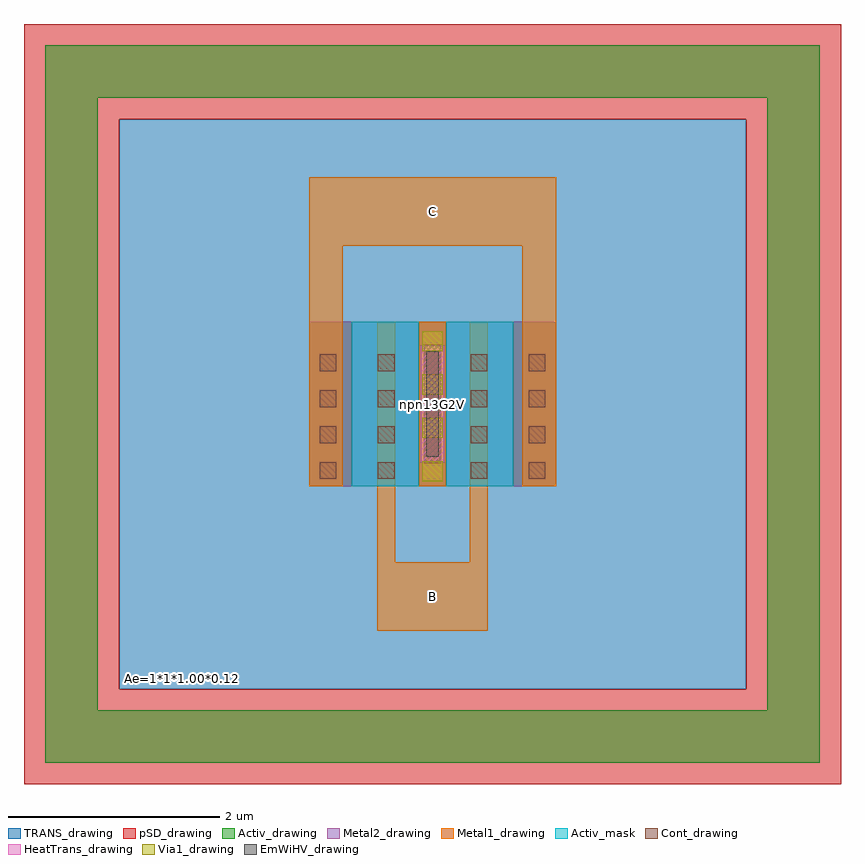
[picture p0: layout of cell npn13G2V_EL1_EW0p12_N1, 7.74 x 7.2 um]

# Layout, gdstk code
import gdstk
lib = gdstk.Library(unit=1e-6, precision=1e-09)
def R(c, l, rs):  # rectangles x0, y0, x1, y1
    for r in rs: c.add(gdstk.rectangle(r[:2], r[2:], *l))
def P(c, l, *ps):  # polygons
    for p in ps: c.add(gdstk.Polygon(p, *l))
Activ_drawing = (1, 0)
Activ_mask = (1, 20)
Cont_drawing = (6, 0)
Metal1_drawing = (8, 0)
Metal2_drawing = (10, 0)
pSD_drawing = (14, 0)
Via1_drawing = (19, 0)
TRANS_drawing = (26, 0)
HeatTrans_drawing = (51, 0)
EmWiHV_drawing = (156, 0)

rectangle_gdsfactorypcom = lib.new_cell('rectangle_gdsfactorypcomponentspshapesprectangle_S0p12__214563ad')
R(rectangle_gdsfactorypcom, EmWiHV_drawing, [(0,0,0.12,1)])

c_rectangle_gdsfactorypcom = lib.new_cell('rectangle_gdsfactorypcomponentspshapesprectangle_S0p22__a1fad430')
R(c_rectangle_gdsfactorypcom, HeatTrans_drawing, [(0,0,0.22,1.1)])

c_rectangle_gdsfactorypcom_ = lib.new_cell('rectangle_gdsfactorypcomponentspshapesprectangle_S0p19__c3060a3f')
R(c_rectangle_gdsfactorypcom_, Via1_drawing, [(0,0,0.19,0.19)])

c_rectangle_gdsfactorypcom__ = lib.new_cell('rectangle_gdsfactorypcomponentspshapesprectangle_S0p635_13724cc7')
R(c_rectangle_gdsfactorypcom__, Activ_mask, [(0,0,0.636,1.56)])

unnamed_260 = lib.new_cell('Unnamed_260')
R(unnamed_260, Activ_mask, [(3.105,2.82,3.741,4.38), (4,2.82,4.636,4.38)])

unnamed_261 = lib.new_cell('Unnamed_261')
R(unnamed_261, Activ_drawing, [(2.7,2.82,3.105,4.38), (3.741,2.82,4,4.38), (4.636,2.82,5.04,4.38)])

c_rectangle_gdsfactorypcom___ = lib.new_cell('rectangle_gdsfactorypcomponentspshapesprectangle_S0p16__e67169cd')
R(c_rectangle_gdsfactorypcom___, Cont_drawing, [(0,0,0.16,1.12)])

c_rectangle_gdsfactorypcom____ = lib.new_cell('rectangle_gdsfactorypcomponentspshapesprectangle_S0p16__bf15bdcd')
R(c_rectangle_gdsfactorypcom____, Cont_drawing, [(0,0,0.16,0.16)])

c_rectangle_gdsfactorypcom_____ = lib.new_cell('rectangle_gdsfactorypcomponentspshapesprectangle_S0p32__9b8446c7')
R(c_rectangle_gdsfactorypcom_____, Metal1_drawing, [(0,0,0.32,2.28)])

c_rectangle_gdsfactorypcom______ = lib.new_cell('rectangle_gdsfactorypcomponentspshapesprectangle_S2p340_1c3a4f5f')
R(c_rectangle_gdsfactorypcom______, Metal1_drawing, [(0,0,2.34,0.65)])

c_rectangle_gdsfactorypcom_______ = lib.new_cell('rectangle_gdsfactorypcomponentspshapesprectangle_S0p17__905a320c')
R(c_rectangle_gdsfactorypcom_______, Metal1_drawing, [(0,0,0.17,2.28)])

c_rectangle_gdsfactorypcom________ = lib.new_cell('rectangle_gdsfactorypcomponentspshapesprectangle_S1p05__82a64c81')
R(c_rectangle_gdsfactorypcom________, Metal1_drawing, [(0,0,1.05,0.65)])

c_rectangle_gdsfactorypcom_________ = lib.new_cell('rectangle_gdsfactorypcomponentspshapesprectangle_S0p26__6304a303')
R(c_rectangle_gdsfactorypcom_________, Metal1_drawing, [(0,0,0.26,1.56)])

c_rectangle_gdsfactorypcom__________ = lib.new_cell('rectangle_gdsfactorypcomponentspshapesprectangle_S2p340_18dfb6fa')
R(c_rectangle_gdsfactorypcom__________, Metal2_drawing, [(0,0,2.34,1.56)])

c_rectangle_gdsfactorypcom___________ = lib.new_cell('rectangle_gdsfactorypcomponentspshapesprectangle_S5p94__38bc2899')
R(c_rectangle_gdsfactorypcom___________, TRANS_drawing, [(0,0,5.94,5.4)])

unnamed_282 = lib.new_cell('Unnamed_282')
P(unnamed_282, pSD_drawing, [(0,0),(0,6.3),(0.9,6.3),(0.9,0.9),(6.84,0.9),(6.84,6.3),(0,6.3),(0,7.2),(7.74,7.2),(7.74,0)])

unnamed_287 = lib.new_cell('Unnamed_287')
P(unnamed_287, Activ_drawing, [(0.2,0.2),(0.2,6.5),(0.7,6.5),(0.7,0.7),(7.04,0.7),(7.04,6.5),(0.2,6.5),(0.2,7),(7.54,7),(7.54,0.2)])

npn13g2v_el1_ew0p12_n1 = lib.new_cell('npn13G2V_EL1_EW0p12_N1')
npn13g2v_el1_ew0p12_n1.add(gdstk.Reference(rectangle_gdsfactorypcom, (3.81,3.1)))
npn13g2v_el1_ew0p12_n1.add(gdstk.Reference(c_rectangle_gdsfactorypcom, (3.76,3.05)))
r = gdstk.Reference(c_rectangle_gdsfactorypcom_, (3.775,2.87)); r.repetition = gdstk.Repetition(1, 4, v1=(0,0), v2=(0,0.41)); npn13g2v_el1_ew0p12_n1.add(r)
npn13g2v_el1_ew0p12_n1.add(gdstk.Reference(c_rectangle_gdsfactorypcom__, (3.105,2.82)))
npn13g2v_el1_ew0p12_n1.add(gdstk.Reference(c_rectangle_gdsfactorypcom__, (4,2.82)))
npn13g2v_el1_ew0p12_n1.add(gdstk.Reference(unnamed_260, (0,0)))
npn13g2v_el1_ew0p12_n1.add(gdstk.Reference(unnamed_261, (0,0)))
npn13g2v_el1_ew0p12_n1.add(gdstk.Reference(c_rectangle_gdsfactorypcom___, (3.79,3.04)))
r = gdstk.Reference(c_rectangle_gdsfactorypcom____, (2.8,2.89)); r.repetition = gdstk.Repetition(1, 4, v1=(0,0), v2=(0,0.34)); npn13g2v_el1_ew0p12_n1.add(r)
r = gdstk.Reference(c_rectangle_gdsfactorypcom____, (3.35,2.89)); r.repetition = gdstk.Repetition(1, 4, v1=(0,0), v2=(0,0.34)); npn13g2v_el1_ew0p12_n1.add(r)
r = gdstk.Reference(c_rectangle_gdsfactorypcom____, (4.23,2.89)); r.repetition = gdstk.Repetition(1, 4, v1=(0,0), v2=(0,0.34)); npn13g2v_el1_ew0p12_n1.add(r)
r = gdstk.Reference(c_rectangle_gdsfactorypcom____, (4.78,2.89)); r.repetition = gdstk.Repetition(1, 4, v1=(0,0), v2=(0,0.34)); npn13g2v_el1_ew0p12_n1.add(r)
npn13g2v_el1_ew0p12_n1.add(gdstk.Reference(c_rectangle_gdsfactorypcom_____, (2.7,2.82)))
npn13g2v_el1_ew0p12_n1.add(gdstk.Reference(c_rectangle_gdsfactorypcom_____, (4.72,2.82)))
npn13g2v_el1_ew0p12_n1.add(gdstk.Reference(c_rectangle_gdsfactorypcom______, (2.7,5.1)))
npn13g2v_el1_ew0p12_n1.add(gdstk.Reference(c_rectangle_gdsfactorypcom______, (2.7,5.1)))
npn13g2v_el1_ew0p12_n1.add(gdstk.Reference(c_rectangle_gdsfactorypcom_______, (3.345,2.1)))
npn13g2v_el1_ew0p12_n1.add(gdstk.Reference(c_rectangle_gdsfactorypcom_______, (4.225,2.1)))
npn13g2v_el1_ew0p12_n1.add(gdstk.Reference(c_rectangle_gdsfactorypcom________, (3.345,1.45)))
npn13g2v_el1_ew0p12_n1.add(gdstk.Reference(c_rectangle_gdsfactorypcom________, (3.345,1.45)))
npn13g2v_el1_ew0p12_n1.add(gdstk.Reference(c_rectangle_gdsfactorypcom_________, (3.74,2.82)))
npn13g2v_el1_ew0p12_n1.add(gdstk.Reference(c_rectangle_gdsfactorypcom__________, (2.7,2.82)))
npn13g2v_el1_ew0p12_n1.add(gdstk.Reference(c_rectangle_gdsfactorypcom__________, (2.7,2.82)))
npn13g2v_el1_ew0p12_n1.add(gdstk.Reference(c_rectangle_gdsfactorypcom___________, (0.9,0.9)))
npn13g2v_el1_ew0p12_n1.add(gdstk.Reference(unnamed_282, (0,0)))
npn13g2v_el1_ew0p12_n1.add(gdstk.Reference(unnamed_287, (0,0)))
npn13g2v_el1_ew0p12_n1.add(gdstk.Label('npn13G2V', (3.87,3.6), layer=51, texttype=0))
npn13g2v_el1_ew0p12_n1.add(gdstk.Label('Ae=1*1*1.00*0.12', (1.5,1), layer=63, texttype=0))
npn13g2v_el1_ew0p12_n1.add(gdstk.Label('npn13G2L', (1.75,1), layer=63, texttype=0))
npn13g2v_el1_ew0p12_n1.add(gdstk.Label('C', (3.87,5.425), layer=63, texttype=0))
npn13g2v_el1_ew0p12_n1.add(gdstk.Label('B', (3.87,1.775), layer=63, texttype=0))
npn13g2v_el1_ew0p12_n1.add(gdstk.Label('E', (3.87,3.6), layer=63, texttype=0))

lib.write_gds('npn13G2V_EL1_EW0p12_N1.gds')
